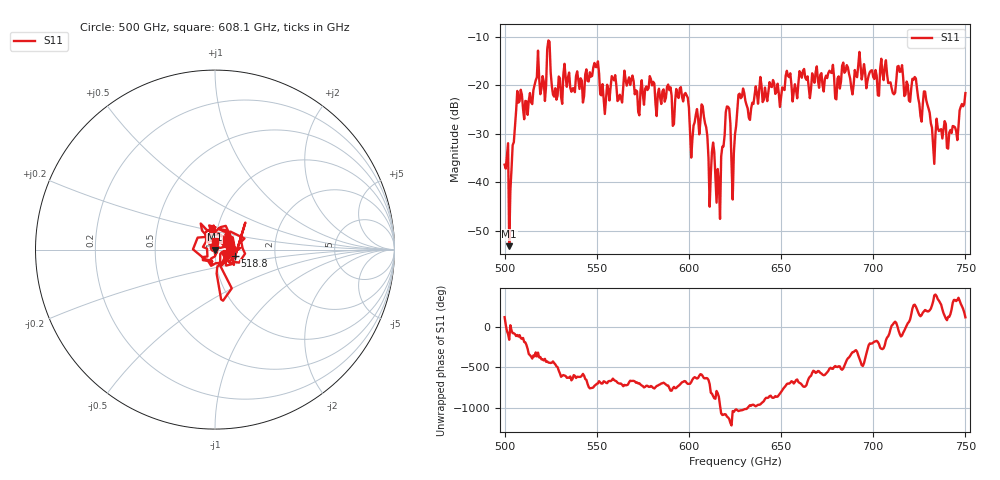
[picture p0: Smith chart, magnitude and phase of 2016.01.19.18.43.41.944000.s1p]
!Created with skrf (http://scikit-rf.org).
# GHz S RI R 50.0
!freq ReS11 ImS11
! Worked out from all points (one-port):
!   401 points, 500 GHz to 750 GHz, reference 50 ohm
!   lowest |S11| = -53.2 dB at 502.5 GHz (marker M1), VSWR 1.00, Z = 49.8 - j0.0758 ohm
!   |S11| at or under -10 dB: start of sweep to end of sweep
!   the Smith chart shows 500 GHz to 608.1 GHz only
!   S11 on the Smith chart (normalised r, x): 500 GHz: 0.99, +0.03; 518.8 GHz: 1.25, -0.09; 608.1 GHz: 1.00, +0.09
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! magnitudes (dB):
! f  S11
! 500 GHz  -36.4
! 502.5 GHz  -53.2
! 507.5 GHz  -23.6
! 518.8 GHz  -18.5
! 524.4 GHz  -11.1
! 526.9 GHz  -22.4
! 531.2 GHz  -23.9
! 549.4 GHz  -16.3
! 553.1 GHz  -19.8
! 562.5 GHz  -22.0
! 593.8 GHz  -22.2
! 598.8 GHz  -22.1
! 601.9 GHz  -31.2
! 608.1 GHz  -26.5
! 610.6 GHz  -35.1
! 615.6 GHz  -37.3
! 620.6 GHz  -24.4
! 625 GHz  -30.1
! 628.1 GHz  -22.7
! 656.2 GHz  -23.4
! 687.5 GHz  -18.7
! 710.6 GHz  -21.6
! 714.4 GHz  -17.3
! 718.8 GHz  -19.9
! 728.8 GHz  -23.1
! 732.5 GHz  -32.5
! 745 GHz  -29.5
! 750 GHz  -21.6
